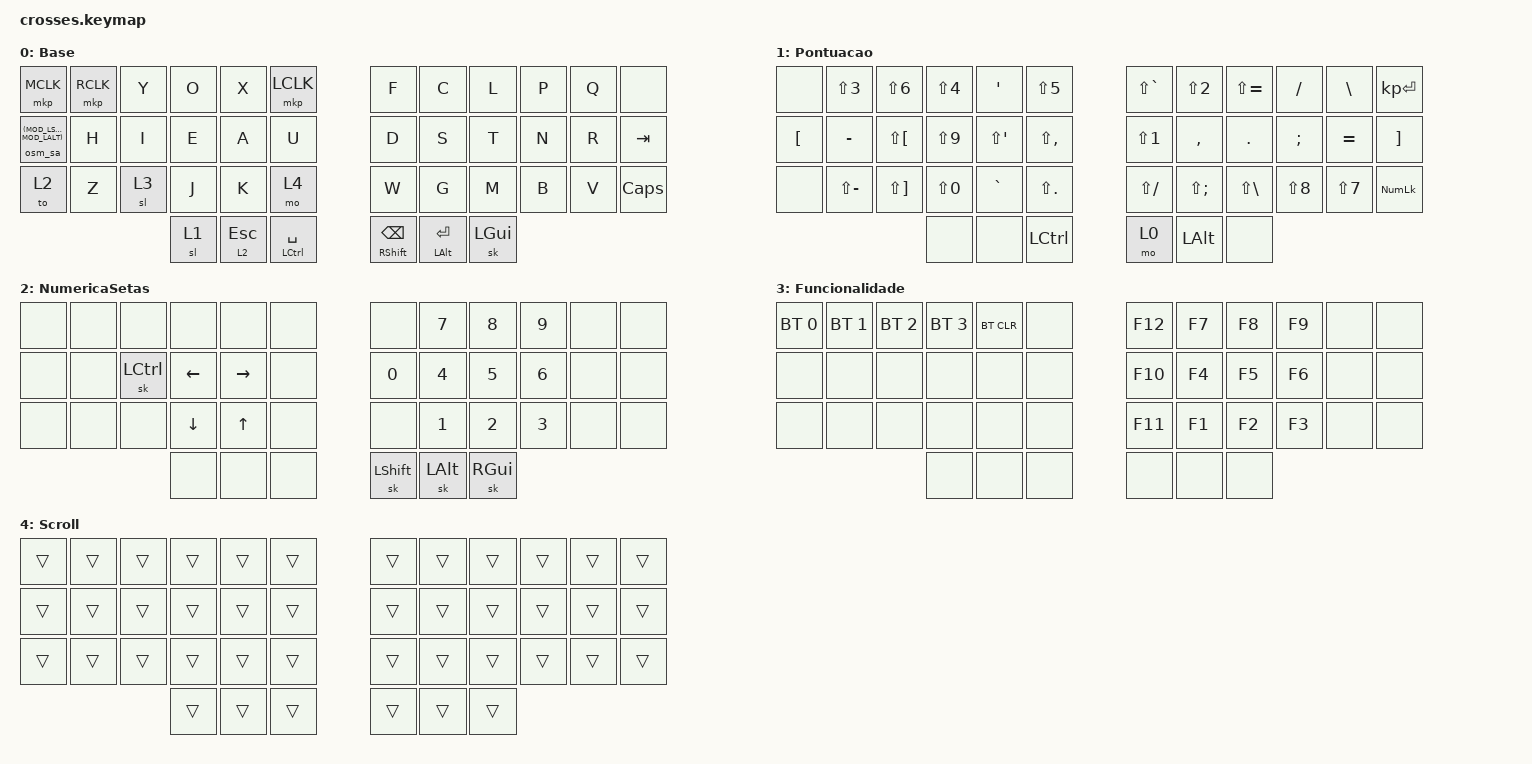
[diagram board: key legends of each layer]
#include <behaviors.dtsi>
#include <dt-bindings/zmk/bt.h>
#include <dt-bindings/zmk/keys.h>
#include <dt-bindings/zmk/pointing.h>

&mt {
    tapping-term-ms = <200>;
    flavor = "balanced";
    quick-tap-ms = <150>;
};

/ {
    behaviors {
        osm_sa: osm_sa {
            compatible = "zmk,behavior-sticky-key";
            #binding-cells = <1>;
            bindings = <&kp>;
            release-after-ms = <1000>;
        };
    };

    keymap {
        compatible = "zmk,keymap";

        Base {
            bindings = <
&mkp MCLK             &mkp RCLK            &kp Y                 &kp O               &kp X               &mkp LCLK            &kp F             &kp C                  &kp L                      &kp P    &kp Q  &none
&osm_sa (MOD_LSFT | MOD_LALT) &kp H        &kp I                 &kp E               &kp A               &kp U                &kp D             &kp S                  &kp T                      &kp N    &kp R  &kp TAB
&to 2                 &kp Z                &sl 3                 &kp J               &kp K               &mo 4                &kp W             &kp G                  &kp M                      &kp B    &kp V  &kp CAPSLOCK
                                                        &sl 1                &lt 2 ESCAPE       &mt LEFT_CONTROL SPACE  &mt RIGHT_SHIFT BACKSPACE  &mt LEFT_ALT ENTER    &sk LEFT_GUI
            >;
        };

        Pontuacao {
            bindings = <
&none             &kp LS(N3)           &kp LS(N6)            &kp LS(N4)          &kp SQT             &kp LS(N5)           &kp LS(GRAVE)     &kp LS(N2)             &kp LS(EQUAL)              &kp SLASH    &kp BACKSLASH  &kp KP_ENTER
&kp LEFT_BRACKET  &kp MINUS            &kp LS(LEFT_BRACKET)  &kp LS(N9)          &kp LS(SQT)         &kp LS(COMMA)        &kp LS(N1)        &kp COMMA              &kp DOT                    &kp SEMICOLON  &kp EQUAL  &kp RIGHT_BRACKET
&none             &kp LS(MINUS)        &kp LS(RIGHT_BRACKET) &kp LS(N0)          &kp GRAVE           &kp LS(DOT)          &kp LS(SLASH)     &kp LS(SEMICOLON)      &kp LS(BACKSLASH)          &kp LS(N8)  &kp LS(N7)  &kp KP_NUMLOCK
                                                        &none                &none               &kp LEFT_CONTROL      &mo 0                    &kp LEFT_ALT          &none
            >;
        };

        NumericaSetas {
            bindings = <
&none  &none  &none              &none            &none             &none  &none          &kp NUMBER_7  &kp NUMBER_8  &kp NUMBER_9  &none  &none
&none  &none  &sk LEFT_CONTROL   &kp LEFT_ARROW   &kp RIGHT_ARROW   &none  &kp NUMBER_0   &kp NUMBER_4  &kp NUMBER_5  &kp NUMBER_6  &none  &none
&none  &none  &none              &kp DOWN_ARROW   &kp UP_ARROW      &none  &none          &kp NUMBER_1  &kp NUMBER_2  &kp NUMBER_3  &none  &none
                                  &none            &none             &none  &sk LEFT_SHIFT &sk LEFT_ALT  &sk RIGHT_GUI
            >;
        };

        Funcionalidade {
            bindings = <
&bt BT_SEL 0  &bt BT_SEL 1  &bt BT_SEL 2  &bt BT_SEL 3  &bt BT_CLR     &none    &kp F12   &kp F7  &kp F8    &kp F9  &none  &none
&none         &none         &none        &none       &none             &none    &kp F10   &kp F4  &kp F5    &kp F6  &none  &none
&none         &none         &none        &none       &none             &none    &kp F11   &kp F1  &kp F2    &kp F3  &none  &none
                            &none        &none       &none             &none    &none     &none
            >;
        };

        Scroll {
            bindings = <
&trans  &trans  &trans  &trans  &trans  &trans  &trans  &trans  &trans  &trans  &trans  &trans
&trans  &trans  &trans  &trans  &trans  &trans  &trans  &trans  &trans  &trans  &trans  &trans
&trans  &trans  &trans  &trans  &trans  &trans  &trans  &trans  &trans  &trans  &trans  &trans
                        &trans  &trans  &trans  &trans  &trans  &trans
            >;
        };
    };
};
